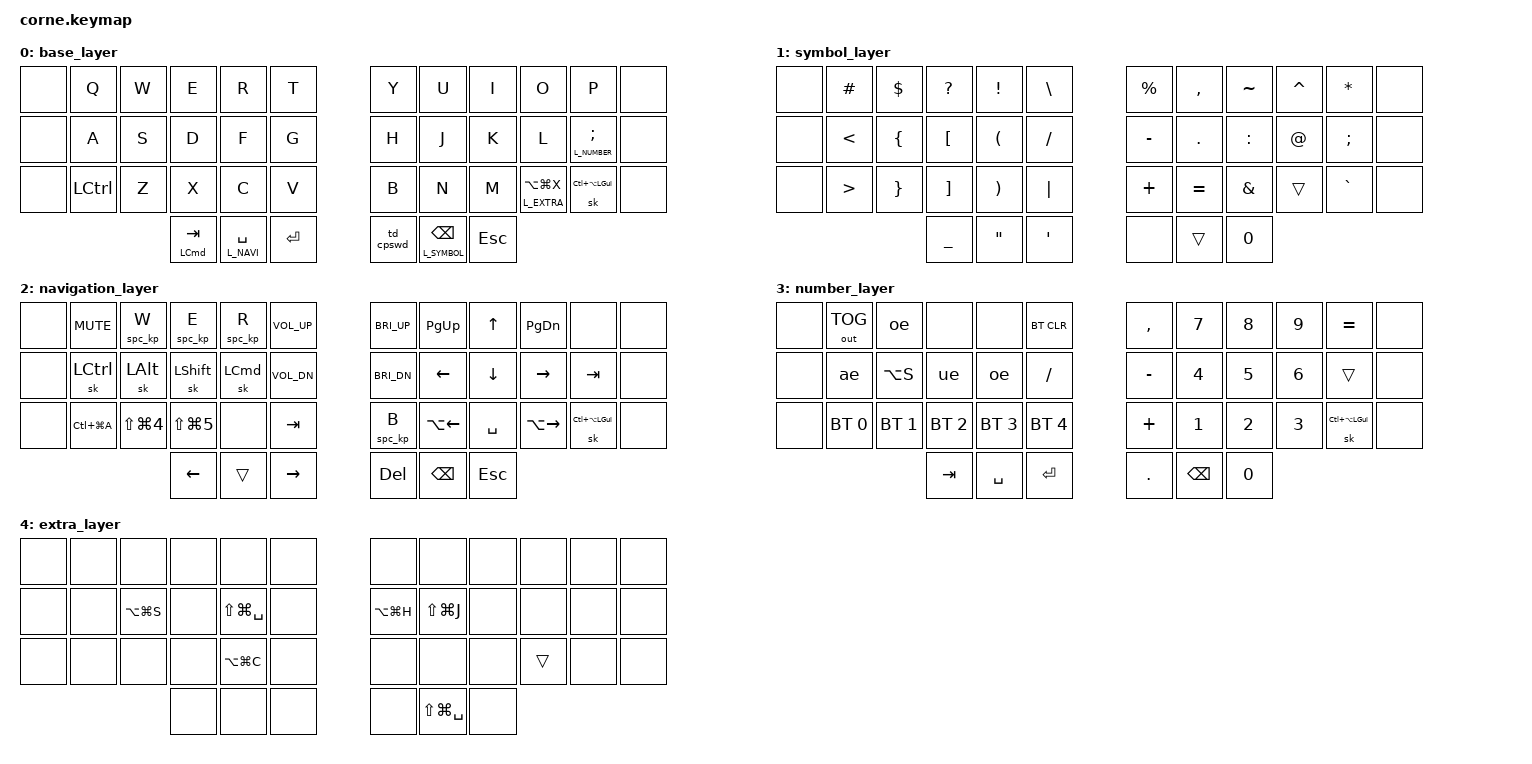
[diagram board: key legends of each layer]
/*
 * Copyright (c) 2020 The ZMK Contributors
 *
 * SPDX-License-Identifier: MIT
 */

#include <behaviors.dtsi>
#include <dt-bindings/zmk/keys.h>
#include <dt-bindings/zmk/bt.h>
#include <dt-bindings/zmk/outputs.h>
#include <dt-bindings/zmk/keys.h>
#include <dt-bindings/zmk/modifiers.h>

#define L_BASE 0
#define L_SYMBOL   1
#define L_NAVI   2
#define L_NUMBER  3
#define L_EXTRA 4
#define BSE L_BASE
#define SYM L_SYMBOL
#define NAV L_NAVI
#define NUM L_NUMBER
#define EXT L_EXTRA

#define MAC_LANG RC(SPACE)
#define MAC_SCRS LS(LG(N4)) // macOS screenshot
#define MAC_SCRR LS(LG(N5)) // macOS screenrecord
#define WC_SCRS LC(LG(A)) // wechat screenshot

#define SUPMOD LC(LA(LGUI)) // super modifier
#define SUP(x) (LC(LA(LG(x))))

#define WRPD LA(LG(X)) // warpd
#define WRPH LA(LG(H)) // warpd history
#define WRPN LA(LG(C)) // warpd normal
#define WRPS LA(LG(S)) // warpd screen
#define HMRW LS(LG(SPACE)) // homerow
#define HMRS LS(LG(J)) // homerow scroll

&mt {
    flavor = "hold-preferred";
    tapping-term-ms = <250>;
    quick_tap_ms = <180>;
};

&lt {
    flavor = "hold-preferred";
    quick_tap_ms = <180>;
    tapping-term-ms = <250>;
};

/ {
        combos {
           compatible = "zmk,combos";
           combo_lpar {
              timeout-ms = <50>;
              key-positions = <25 26>;
              bindings = <&kp LPAR>;
           };

           combo_rpar {
              timeout-ms = <50>;
              key-positions = <33 34>;
              bindings = <&kp RPAR>;
           };
        };

        behaviors {
            td_cpswd: tap_dance_capsword {
                compatible = "zmk,behavior-tap-dance";
                label = "TAP_DANCE_CAPSWORD";
                #binding-cells = <0>;
                tapping-term-ms = <200>;
                bindings = <&kp LSHFT>, <&caps_word>;
            };
        };

        conditional_layers {
            compatible = "zmk,conditional-layers";
        };

        macros {
                spc_kp: spc_kp {
                label = "ZM_spc_kp";
                compatible = "zmk,behavior-macro-one-param";
                #binding-cells = <1>;
                bindings
                        = <&macro_tap &kp SPACE>
                        , <&macro_param_1to1>
                        , <&macro_tap &kp MACRO_PLACEHOLDER>
                        ;
                };

                mac_umlaut: mac_umlaut { // mac_umlaut, for german
                compatible = "zmk,behavior-macro-one-param";
                #binding-cells = <1>;
                wait-ms = <3>;
                tap-ms = <3>;
                bindings
                        = <&macro_tap &kp LA(U)>
                        , <&macro_param_1to1>
                        , <&macro_tap &kp MACRO_PLACEHOLDER>;
                };

        };

        behaviors {
                // Mod-morph for Ä
                ae: ae {
                compatible = "zmk,behavior-mod-morph";
                #binding-cells = <0>;
                bindings = <&mac_umlaut A>, <&mac_umlaut LS(A)>;
                mods = <(MOD_LSFT|MOD_RSFT)>;
                };

                // Mod-morph for Ö
                oe: oe {
                compatible = "zmk,behavior-mod-morph";
                #binding-cells = <0>;
                bindings = <&mac_umlaut O>, <&mac_umlaut LS(O)>;
                mods = <(MOD_LSFT|MOD_RSFT)>;
                };

                // Mod-morph for Ü
                ue: ue {
                compatible = "zmk,behavior-mod-morph";
                #binding-cells = <0>;
                bindings = <&mac_umlaut U>, <&mac_umlaut LS(U)>;
                mods = <(MOD_LSFT|MOD_RSFT)>;
                };
        };

        keymap {
                compatible = "zmk,keymap";

                base_layer {
                        bindings = <
   &none &kp Q      &kp W      &kp E       &kp R        &kp T         &kp Y         &kp U        &kp I        &kp O        &kp P         &none
   &none &kp A      &kp S      &kp D       &kp F        &kp G         &kp H         &kp J        &kp K        &kp L        &lt NUM SEMI  &none
   &none &kp LCTRL  &kp Z      &kp X       &kp C        &kp V         &kp B         &kp N        &kp M        &lt EXT WRPD &sk SUPMOD    &none
                              &mt LCMD TAB &lt NAV SPACE &kp ENTER   &td_cpswd  &lt SYM BSPC &kp ESC
                        >;
                };
                symbol_layer {
                        bindings = <
   &none &kp HASH &kp DLLR    &kp QMARK     &kp EXCL    &kp BSLH        &kp PRCNT   &kp COMMA      &kp TILDE    &kp CARET    &kp ASTRK     &none
   &none &kp LT   &kp LBRC    &kp LBKT      &kp LPAR    &kp FSLH        &kp MINUS   &kp DOT        &kp COLON    &kp AT    &kp SEMI   &none
   &none &kp GT   &kp RBRC    &kp RBKT      &kp RPAR    &kp PIPE        &kp PLUS    &kp EQUAL      &kp AMPS     &trans   &kp GRAVE  &none
                              &kp UNDER     &kp DQT     &kp SQT         &none       &trans         &kp N0
                        >;
                };
                navigation_layer {
                        bindings = <
   &none &kp C_MUTE  &spc_kp W    &spc_kp E    &spc_kp R    &kp C_VOL_UP     &kp C_BRI_UP     &kp PG_UP     &kp UP      &kp PG_DN      &none      &none
   &none &sk LCTRL   &sk LALT     &sk LSHFT    &sk LCMD     &kp C_VOL_DN     &kp C_BRI_DN     &kp LEFT      &kp DOWN    &kp RIGHT      &kp TAB    &none
   &none &kp WC_SCRS &kp MAC_SCRS &kp MAC_SCRR &none        &kp TAB          &spc_kp B        &kp LA(LEFT)  &kp SPACE   &kp LA(RIGHT)  &sk SUPMOD  &none
                                  &kp LEFT     &trans       &kp RIGHT        &kp DEL          &kp BSPC      &kp ESC
                        >;
                };
                number_layer {
                        bindings = <
   &none &out OUT_TOG &oe          &none        &none          &bt BT_CLR       &kp COMMA       &kp N7     &kp N8     &kp N9     &kp EQUAL  &none
   &none &ae          &kp LA(S)    &ue          &oe    &kp FSLH         &kp MINUS       &kp N4     &kp N5     &kp N6     &trans     &none
   &none &bt BT_SEL 0 &bt BT_SEL 1 &bt BT_SEL 2 &bt BT_SEL 3 &bt BT_SEL 4     &kp PLUS        &kp N1     &kp N2     &kp N3     &sk SUPMOD  &none
                                   &kp TAB      &kp SPACE    &kp ENTER        &kp DOT       &kp BSPC    &kp N0
                        >;
                };
                extra_layer {
                        bindings = <
   &none &none        &none        &none        &none        &none            &none           &none       &none     &none     &none     &none
   &none &none        &kp WRPS     &none        &kp HMRW     &none            &kp WRPH        &kp HMRS    &none     &none     &none     &none
   &none &none        &none        &none        &kp WRPN     &none            &none           &none       &none     &trans    &none     &none
                                   &none        &none        &none            &none           &kp HMRW    &none
                        >;
                };
        };
};
